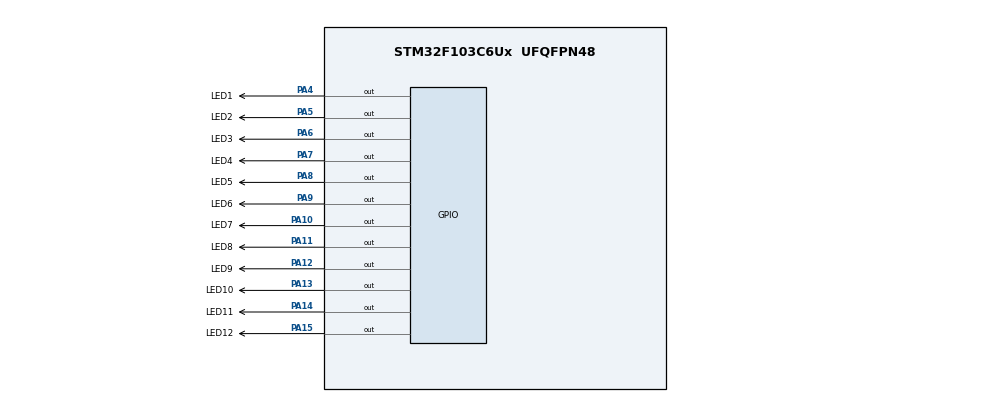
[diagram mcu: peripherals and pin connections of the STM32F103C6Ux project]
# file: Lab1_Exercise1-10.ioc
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Mcu.Family=STM32F1
Mcu.Name=STM32F103C6Ux
Mcu.Package=UFQFPN48
NVIC.PriorityGroup=NVIC_PRIORITYGROUP_4
PA10.GPIO_Label=LED7
PA10.PinState=GPIO_PIN_RESET
PA10.Signal=GPIO_Output
PA11.GPIO_Label=LED8
PA11.PinState=GPIO_PIN_RESET
PA11.Signal=GPIO_Output
PA12.GPIO_Label=LED9
PA12.PinState=GPIO_PIN_RESET
PA12.Signal=GPIO_Output
PA13.GPIO_Label=LED10
PA13.PinState=GPIO_PIN_RESET
PA13.Signal=GPIO_Output
PA14.GPIO_Label=LED11
PA14.PinState=GPIO_PIN_RESET
PA14.Signal=GPIO_Output
PA15.GPIO_Label=LED12
PA15.PinState=GPIO_PIN_RESET
PA15.Signal=GPIO_Output
PA4.GPIO_Label=LED1
PA4.PinState=GPIO_PIN_RESET
PA4.Signal=GPIO_Output
PA5.GPIO_Label=LED2
PA5.PinState=GPIO_PIN_RESET
PA5.Signal=GPIO_Output
PA6.GPIO_Label=LED3
PA6.PinState=GPIO_PIN_RESET
PA6.Signal=GPIO_Output
PA7.GPIO_Label=LED4
PA7.PinState=GPIO_PIN_RESET
PA7.Signal=GPIO_Output
PA8.GPIO_Label=LED5
PA8.PinState=GPIO_PIN_RESET
PA8.Signal=GPIO_Output
PA9.GPIO_Label=LED6
PA9.PinState=GPIO_PIN_RESET
PA9.Signal=GPIO_Output
ProjectManager.HeapSize=0x200
ProjectManager.StackSize=0x400
ProjectManager.TargetToolchain=STM32CubeIDE
RCC.APB1Freq_Value=8000000
RCC.APB2Freq_Value=8000000
VP_SYS_VS_ND.Mode=No_Debug
board=custom

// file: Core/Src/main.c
/* USER CODE BEGIN Header */
/**
  ******************************************************************************
  * @file           : main.c
  * @brief          : Main program body
  ******************************************************************************
  * @attention
  *
  * <h2><center>&copy; Copyright (c) 2025 STMicroelectronics.
  * All rights reserved.</center></h2>
  *
  * This software component is licensed by ST under BSD 3-Clause license,
  * the "License"; You may not use this file except in compliance with the
  * License. You may obtain a copy of the License at:
  *                        opensource.org/licenses/BSD-3-Clause
  *
  ******************************************************************************
  */
/* USER CODE END Header */
#include "main.h"

/* USER CODE BEGIN PD */
#define On	0
#define Off 1
/* USER CODE END PD */

void SystemClock_Config(void);
static void MX_GPIO_Init(void);
/* USER CODE BEGIN PFP */

void clearAllClock();
void setNumberOnClock(int num);
void clearNumberOnClock(int num);
void displayClock(int hour, int minute, int second);
/* USER CODE END PFP */

int main(void)
{
  /* USER CODE BEGIN 1 */
	int hour = 1, minute = 55, second = 0;
  /* USER CODE END 1 */

  /* MCU Configuration--------------------------------------------------------*/

  /* Reset of all peripherals, Initializes the Flash interface and the Systick. */
  HAL_Init();

  /* Configure the system clock */
  SystemClock_Config();

  /* Initialize all configured peripherals */
  MX_GPIO_Init();

  /* Infinite loop */
  /* USER CODE BEGIN WHILE */
  while (1)
  {
	  //displayClock(hour, minute, second);
	  if(second >= 60){
	  	  	clearNumberOnClock(second / 5 - 1);
	  	  	second = 0;
	  	  	minute++;
	  }

	  if(second % 5 == 0){
	  		clearNumberOnClock(second / 5 - 1);
	  		setNumberOnClock(second / 5);
	  		setNumberOnClock(minute / 5);
	  		setNumberOnClock(hour);
	  }

	  if(minute >= 60){
	  	  	clearNumberOnClock(minute/5 -1);
	  	  	minute = 0;
	  	  	clearNumberOnClock(hour);
	  	  	hour++;
	  }

	  if(minute % 5 == 0){
	  	  	clearNumberOnClock(minute / 5  - 1);
	  	    setNumberOnClock(hour);
	  }

	  if(hour >= 12){
	  		  hour = 0;
	  }

	  second++;
	  HAL_Delay(10);

    /* USER CODE END WHILE */

  }
}

void SystemClock_Config(void)
{
  RCC_OscInitTypeDef RCC_OscInitStruct = {0};
  RCC_ClkInitTypeDef RCC_ClkInitStruct = {0};

  /** Initializes the RCC Oscillators according to the specified parameters
  * in the RCC_OscInitTypeDef structure.
  */
  RCC_OscInitStruct.OscillatorType = RCC_OSCILLATORTYPE_HSI;
  RCC_OscInitStruct.HSIState = RCC_HSI_ON;
  RCC_OscInitStruct.HSICalibrationValue = RCC_HSICALIBRATION_DEFAULT;
  RCC_OscInitStruct.PLL.PLLState = RCC_PLL_NONE;
  if (HAL_RCC_OscConfig(&RCC_OscInitStruct) != HAL_OK)
  {
    Error_Handler();
  }
  /** Initializes the CPU, AHB and APB buses clocks
  */
  RCC_ClkInitStruct.ClockType = RCC_CLOCKTYPE_HCLK|RCC_CLOCKTYPE_SYSCLK
                              |RCC_CLOCKTYPE_PCLK1|RCC_CLOCKTYPE_PCLK2;
  RCC_ClkInitStruct.SYSCLKSource = RCC_SYSCLKSOURCE_HSI;
  RCC_ClkInitStruct.AHBCLKDivider = RCC_SYSCLK_DIV1;
  RCC_ClkInitStruct.APB1CLKDivider = RCC_HCLK_DIV1;
  RCC_ClkInitStruct.APB2CLKDivider = RCC_HCLK_DIV1;

  if (HAL_RCC_ClockConfig(&RCC_ClkInitStruct, FLASH_LATENCY_0) != HAL_OK)
  {
    Error_Handler();
  }
}

static void MX_GPIO_Init(void)
{
  GPIO_InitTypeDef GPIO_InitStruct = {0};

  /* GPIO Ports Clock Enable */
  __HAL_RCC_GPIOA_CLK_ENABLE();

  /*Configure GPIO pin Output Level */
  HAL_GPIO_WritePin(GPIOA, LED1_Pin|LED2_Pin|LED3_Pin|LED4_Pin
                          |LED5_Pin|LED6_Pin|LED7_Pin|LED8_Pin
                          |LED9_Pin|LED10_Pin|LED11_Pin|LED12_Pin, GPIO_PIN_SET);

  /*Configure GPIO pins : LED1_Pin LED2_Pin LED3_Pin LED4_Pin
                           LED5_Pin LED6_Pin LED7_Pin LED8_Pin
                           LED9_Pin LED10_Pin LED11_Pin LED12_Pin */
  GPIO_InitStruct.Pin = LED1_Pin|LED2_Pin|LED3_Pin|LED4_Pin
                          |LED5_Pin|LED6_Pin|LED7_Pin|LED8_Pin
                          |LED9_Pin|LED10_Pin|LED11_Pin|LED12_Pin;
  GPIO_InitStruct.Mode = GPIO_MODE_OUTPUT_PP;
  GPIO_InitStruct.Pull = GPIO_NOPULL;
  GPIO_InitStruct.Speed = GPIO_SPEED_FREQ_LOW;
  HAL_GPIO_Init(GPIOA, &GPIO_InitStruct);

}

/* USER CODE BEGIN 4 */

void clearAllClock(){
	HAL_GPIO_WritePin(GPIOA, LED1_Pin|LED2_Pin|LED3_Pin|LED4_Pin
	                          |LED5_Pin|LED6_Pin|LED7_Pin|LED8_Pin
	                          |LED9_Pin|LED10_Pin|LED11_Pin|LED12_Pin, GPIO_PIN_SET);
//    HAL_GPIO_WritePin(LED1_GPIO_Port, LED1_Pin, 1);
//    HAL_GPIO_WritePin(LED2_GPIO_Port, LED2_Pin, 1);
//    HAL_GPIO_WritePin(LED3_GPIO_Port, LED3_Pin, 1);
//    HAL_GPIO_WritePin(LED4_GPIO_Port, LED4_Pin, 1);
//    HAL_GPIO_WritePin(LED5_GPIO_Port, LED5_Pin, 1);
//    HAL_GPIO_WritePin(LED6_GPIO_Port, LED6_Pin, 1);
//    HAL_GPIO_WritePin(LED7_GPIO_Port, LED7_Pin, 1);
//    HAL_GPIO_WritePin(LED8_GPIO_Port, LED8_Pin, 1);
//    HAL_GPIO_WritePin(LED9_GPIO_Port, LED9_Pin, 1);
//    HAL_GPIO_WritePin(LED10_GPIO_Port, LED10_Pin, 1);
//    HAL_GPIO_WritePin(LED11_GPIO_Port, LED11_Pin, 1);
//    HAL_GPIO_WritePin(LED12_GPIO_Port, LED12_Pin, 1);
 }

void setNumberOnClock(int num){
	switch(num){
	case 0:
		HAL_GPIO_WritePin(LED12_GPIO_Port, LED12_Pin, 0);
		break;
	case 1:
		HAL_GPIO_WritePin(LED1_GPIO_Port, LED1_Pin, 0);
		break;
	case 2:
		HAL_GPIO_WritePin(LED2_GPIO_Port, LED2_Pin, 0);
		break;
	case 3:
		HAL_GPIO_WritePin(LED3_GPIO_Port, LED3_Pin, 0);
		break;
	case 4:
		HAL_GPIO_WritePin(LED4_GPIO_Port, LED4_Pin, 0);
		break;
	case 5:
		HAL_GPIO_WritePin(LED5_GPIO_Port, LED5_Pin, 0);
		break;
	case 6:
		HAL_GPIO_WritePin(LED6_GPIO_Port, LED6_Pin, 0);
		break;
	case 7:
		HAL_GPIO_WritePin(LED7_GPIO_Port, LED7_Pin, 0);
		break;
	case 8:
		HAL_GPIO_WritePin(LED8_GPIO_Port, LED8_Pin, 0);
		break;
	case 9:
		HAL_GPIO_WritePin(LED9_GPIO_Port, LED9_Pin, 0);
		break;
	case 10:
		HAL_GPIO_WritePin(LED10_GPIO_Port, LED10_Pin, 0);
		break;
	case 11:
		HAL_GPIO_WritePin(LED11_GPIO_Port, LED11_Pin, 0);
		break;
	default:
		break;
	}
}

void clearNumberOnClock(int num){
	switch(num){
		case 0:
			HAL_GPIO_WritePin(LED12_GPIO_Port, LED12_Pin, 1);
			break;
		case 1:
			HAL_GPIO_WritePin(LED1_GPIO_Port, LED1_Pin, 1);
			break;
		case 2:
			HAL_GPIO_WritePin(LED2_GPIO_Port, LED2_Pin, 1);
			break;
		case 3:
			HAL_GPIO_WritePin(LED3_GPIO_Port, LED3_Pin, 1);
			break;
		case 4:
			HAL_GPIO_WritePin(LED4_GPIO_Port, LED4_Pin, 1);
			break;
		case 5:
			HAL_GPIO_WritePin(LED5_GPIO_Port, LED5_Pin, 1);
			break;
		case 6:
			HAL_GPIO_WritePin(LED6_GPIO_Port, LED6_Pin, 1);
			break;
		case 7:
			HAL_GPIO_WritePin(LED7_GPIO_Port, LED7_Pin, 1);
			break;
		case 8:
			HAL_GPIO_WritePin(LED8_GPIO_Port, LED8_Pin, 1);
			break;
		case 9:
			HAL_GPIO_WritePin(LED9_GPIO_Port, LED9_Pin, 1);
			break;
		case 10:
			HAL_GPIO_WritePin(LED10_GPIO_Port, LED10_Pin, 1);
			break;
		case 11:
			HAL_GPIO_WritePin(LED11_GPIO_Port, LED11_Pin, 1);
			break;
		default:
			break;
		}
}

/* USER CODE END 4 */

void Error_Handler(void)
{
  __disable_irq();
  while (1)
  {
  }
}

/************************ (C) COPYRIGHT STMicroelectronics *****END OF FILE****/
